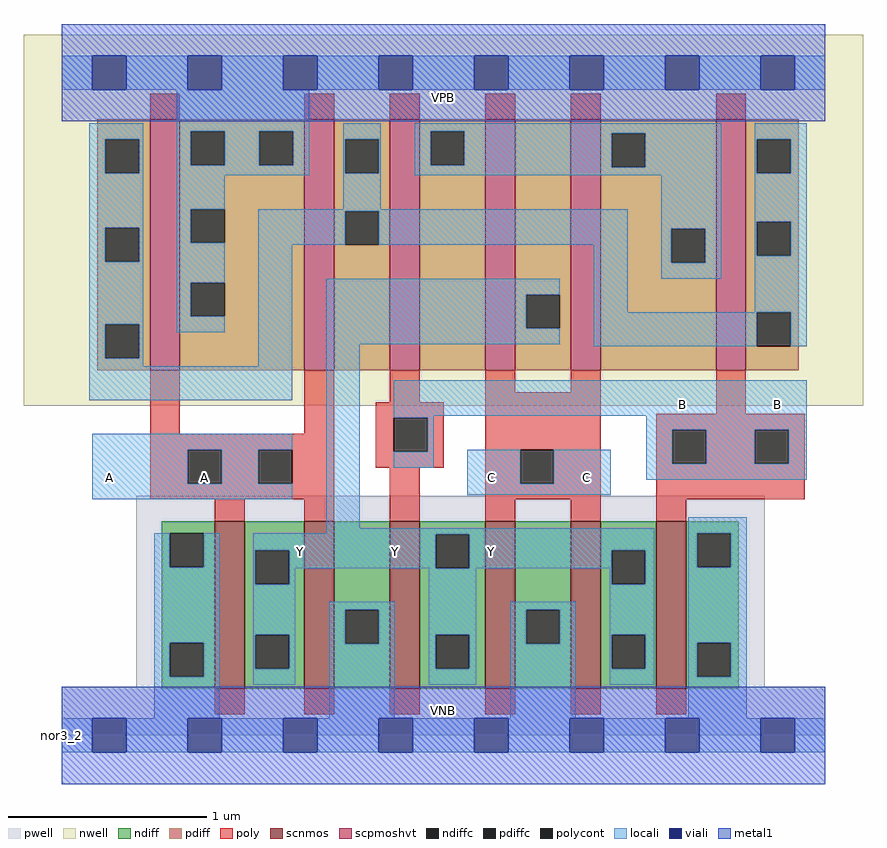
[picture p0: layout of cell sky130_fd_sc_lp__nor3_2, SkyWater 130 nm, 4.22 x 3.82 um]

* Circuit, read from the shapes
.subckt sky130_fd_sc_lp__nor3_2 A B C VGND VNB VPB VPWR Y
XM1 Y A VGND VNB sky130_fd_pr__nfet_01v8 w=0.84 l=0.15 m=2
XM2 Y B VGND VNB sky130_fd_pr__nfet_01v8 w=0.84 l=0.15 m=2
XM3 VGND C Y VNB sky130_fd_pr__nfet_01v8 w=0.84 l=0.15 m=2
XM4 VPWR A n1 VPB sky130_fd_pr__pfet_01v8_hvt w=1.26 l=0.15 m=2
XM5 n2 B n1 VPB sky130_fd_pr__pfet_01v8_hvt w=1.26 l=0.15 m=2
XM6 Y C n2 VPB sky130_fd_pr__pfet_01v8_hvt w=1.26 l=0.15 m=2
.ends

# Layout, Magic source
magic
tech sky130A
magscale 1 2
<< nwell >>
rect -38 331 806 704
<< pwell >>
rect 75 49 707 241
rect 0 0 768 49
<< scnmos >>
rect 154 47 184 215
rect 244 47 274 215
rect 330 47 360 215
rect 426 47 456 215
rect 512 47 542 215
rect 598 47 628 215
<< scpmoshvt >>
rect 89 367 119 619
rect 244 367 274 619
rect 330 367 360 619
rect 426 367 456 619
rect 512 367 542 619
rect 658 367 688 619
<< ndiff >>
rect 101 203 154 215
rect 101 169 109 203
rect 143 169 154 203
rect 101 93 154 169
rect 101 59 109 93
rect 143 59 154 93
rect 101 47 154 59
rect 184 186 244 215
rect 184 152 195 186
rect 229 152 244 186
rect 184 101 244 152
rect 184 67 195 101
rect 229 67 244 101
rect 184 47 244 67
rect 274 126 330 215
rect 274 92 285 126
rect 319 92 330 126
rect 274 47 330 92
rect 360 202 426 215
rect 360 168 376 202
rect 410 168 426 202
rect 360 101 426 168
rect 360 67 376 101
rect 410 67 426 101
rect 360 47 426 67
rect 456 126 512 215
rect 456 92 467 126
rect 501 92 512 126
rect 456 47 512 92
rect 542 186 598 215
rect 542 152 553 186
rect 587 152 598 186
rect 542 101 598 152
rect 542 67 553 101
rect 587 67 598 101
rect 542 47 598 67
rect 628 203 681 215
rect 628 169 639 203
rect 673 169 681 203
rect 628 93 681 169
rect 628 59 639 93
rect 673 59 681 93
rect 628 47 681 59
<< pdiff >>
rect 36 599 89 619
rect 36 565 44 599
rect 78 565 89 599
rect 36 510 89 565
rect 36 476 44 510
rect 78 476 89 510
rect 36 413 89 476
rect 36 379 44 413
rect 78 379 89 413
rect 36 367 89 379
rect 119 607 244 619
rect 119 573 130 607
rect 164 573 199 607
rect 233 573 244 607
rect 119 529 244 573
rect 119 495 130 529
rect 164 495 244 529
rect 119 455 244 495
rect 119 421 130 455
rect 164 421 244 455
rect 119 367 244 421
rect 274 599 330 619
rect 274 565 285 599
rect 319 565 330 599
rect 274 527 330 565
rect 274 493 285 527
rect 319 493 330 527
rect 274 367 330 493
rect 360 607 426 619
rect 360 573 371 607
rect 405 573 426 607
rect 360 367 426 573
rect 456 443 512 619
rect 456 409 467 443
rect 501 409 512 443
rect 456 367 512 409
rect 542 605 658 619
rect 542 571 553 605
rect 587 571 658 605
rect 542 509 658 571
rect 542 475 613 509
rect 647 475 658 509
rect 542 367 658 475
rect 688 599 741 619
rect 688 565 699 599
rect 733 565 741 599
rect 688 516 741 565
rect 688 482 699 516
rect 733 482 741 516
rect 688 425 741 482
rect 688 391 699 425
rect 733 391 741 425
rect 688 367 741 391
<< ndiffc >>
rect 109 169 143 203
rect 109 59 143 93
rect 195 152 229 186
rect 195 67 229 101
rect 285 92 319 126
rect 376 168 410 202
rect 376 67 410 101
rect 467 92 501 126
rect 553 152 587 186
rect 553 67 587 101
rect 639 169 673 203
rect 639 59 673 93
<< pdiffc >>
rect 44 565 78 599
rect 44 476 78 510
rect 44 379 78 413
rect 130 573 164 607
rect 199 573 233 607
rect 130 495 164 529
rect 130 421 164 455
rect 285 565 319 599
rect 285 493 319 527
rect 371 573 405 607
rect 467 409 501 443
rect 553 571 587 605
rect 613 475 647 509
rect 699 565 733 599
rect 699 482 733 516
rect 699 391 733 425
<< poly >>
rect 89 619 119 645
rect 244 619 274 645
rect 330 619 360 645
rect 426 619 456 645
rect 512 619 542 645
rect 658 619 688 645
rect 89 303 119 367
rect 244 303 274 367
rect 330 335 360 367
rect 426 345 456 367
rect 512 345 542 367
rect 89 287 274 303
rect 89 253 127 287
rect 161 253 198 287
rect 232 253 274 287
rect 316 319 384 335
rect 316 285 334 319
rect 368 285 384 319
rect 316 269 384 285
rect 426 287 542 345
rect 658 323 688 367
rect 89 237 274 253
rect 154 215 184 237
rect 244 215 274 237
rect 330 215 360 269
rect 426 253 461 287
rect 495 253 542 287
rect 426 237 542 253
rect 426 215 456 237
rect 512 215 542 237
rect 598 307 747 323
rect 598 273 614 307
rect 648 273 697 307
rect 731 273 747 307
rect 598 237 747 273
rect 598 215 628 237
rect 154 21 184 47
rect 244 21 274 47
rect 330 21 360 47
rect 426 21 456 47
rect 512 21 542 47
rect 598 21 628 47
<< polycont >>
rect 127 253 161 287
rect 198 253 232 287
rect 334 285 368 319
rect 461 253 495 287
rect 614 273 648 307
rect 697 273 731 307
<< locali >>
rect 0 649 31 683
rect 65 649 127 683
rect 161 649 223 683
rect 257 649 319 683
rect 353 649 415 683
rect 449 649 511 683
rect 545 649 607 683
rect 641 649 703 683
rect 737 649 768 683
rect 28 599 82 615
rect 28 565 44 599
rect 78 565 82 599
rect 28 510 82 565
rect 28 476 44 510
rect 78 476 82 510
rect 28 413 82 476
rect 28 379 44 413
rect 78 379 82 413
rect 116 607 249 649
rect 116 573 130 607
rect 164 573 199 607
rect 233 573 249 607
rect 116 563 249 573
rect 283 599 321 615
rect 283 565 285 599
rect 319 565 321 599
rect 116 529 164 563
rect 283 529 321 565
rect 355 607 663 615
rect 355 573 371 607
rect 405 605 663 607
rect 405 573 553 605
rect 355 571 553 573
rect 587 571 663 605
rect 355 563 663 571
rect 116 495 130 529
rect 116 455 164 495
rect 116 421 130 455
rect 116 405 164 421
rect 198 527 569 529
rect 198 493 285 527
rect 319 493 569 527
rect 28 371 82 379
rect 198 371 232 493
rect 28 337 232 371
rect 266 443 501 459
rect 266 409 467 443
rect 266 393 501 409
rect 535 425 569 493
rect 603 509 663 563
rect 603 475 613 509
rect 647 475 663 509
rect 603 459 663 475
rect 697 599 749 615
rect 697 565 699 599
rect 733 565 749 599
rect 697 516 749 565
rect 697 482 699 516
rect 733 482 749 516
rect 697 425 749 482
rect 31 287 232 303
rect 31 253 127 287
rect 161 253 198 287
rect 31 237 232 253
rect 266 208 300 393
rect 535 391 699 425
rect 733 391 749 425
rect 334 321 749 357
rect 334 319 374 321
rect 368 285 374 319
rect 588 307 749 321
rect 334 269 374 285
rect 408 253 461 287
rect 495 253 552 287
rect 588 273 614 307
rect 648 273 697 307
rect 731 273 749 307
rect 588 257 749 273
rect 408 242 552 253
rect 266 203 596 208
rect 93 169 109 203
rect 143 169 159 203
rect 93 93 159 169
rect 93 59 109 93
rect 143 59 159 93
rect 93 17 159 59
rect 193 202 596 203
rect 193 186 376 202
rect 193 152 195 186
rect 229 168 376 186
rect 410 186 596 202
rect 410 168 553 186
rect 229 152 235 168
rect 193 101 235 152
rect 193 67 195 101
rect 229 67 235 101
rect 193 51 235 67
rect 269 126 335 134
rect 269 92 285 126
rect 319 92 335 126
rect 269 17 335 92
rect 369 101 417 168
rect 551 152 553 168
rect 587 152 596 186
rect 369 67 376 101
rect 410 67 417 101
rect 369 51 417 67
rect 451 126 517 134
rect 451 92 467 126
rect 501 92 517 126
rect 451 17 517 92
rect 551 101 596 152
rect 551 67 553 101
rect 587 67 596 101
rect 551 51 596 67
rect 630 203 689 219
rect 630 169 639 203
rect 673 169 689 203
rect 630 93 689 169
rect 630 59 639 93
rect 673 59 689 93
rect 630 17 689 59
rect 0 -17 31 17
rect 65 -17 127 17
rect 161 -17 223 17
rect 257 -17 319 17
rect 353 -17 415 17
rect 449 -17 511 17
rect 545 -17 607 17
rect 641 -17 703 17
rect 737 -17 768 17
<< viali >>
rect 31 649 65 683
rect 127 649 161 683
rect 223 649 257 683
rect 319 649 353 683
rect 415 649 449 683
rect 511 649 545 683
rect 607 649 641 683
rect 703 649 737 683
rect 31 -17 65 17
rect 127 -17 161 17
rect 223 -17 257 17
rect 319 -17 353 17
rect 415 -17 449 17
rect 511 -17 545 17
rect 607 -17 641 17
rect 703 -17 737 17
<< metal1 >>
rect 0 683 768 715
rect 0 649 31 683
rect 65 649 127 683
rect 161 649 223 683
rect 257 649 319 683
rect 353 649 415 683
rect 449 649 511 683
rect 545 649 607 683
rect 641 649 703 683
rect 737 649 768 683
rect 0 617 768 649
rect 0 17 768 49
rect 0 -17 31 17
rect 65 -17 127 17
rect 161 -17 223 17
rect 257 -17 319 17
rect 353 -17 415 17
rect 449 -17 511 17
rect 545 -17 607 17
rect 641 -17 703 17
rect 737 -17 768 17
rect 0 -49 768 -17
<< labels >>
flabel pwell s 0 0 768 49 0 FreeSans 200 0 0 0 VNB
port 5 nsew ground bidirectional
flabel nwell s 0 617 768 666 0 FreeSans 200 0 0 0 VPB
port 6 nsew power bidirectional
rlabel comment s 0 0 0 0 4 nor3_2
flabel metal1 s 0 617 768 666 0 FreeSans 340 0 0 0 VPWR
port 7 nsew power bidirectional
flabel metal1 s 0 0 768 49 0 FreeSans 340 0 0 0 VGND
port 4 nsew ground bidirectional
flabel locali s 223 168 257 202 0 FreeSans 340 0 0 0 Y
port 8 nsew signal output
flabel locali s 319 168 353 202 0 FreeSans 340 0 0 0 Y
port 8 nsew signal output
flabel locali s 415 168 449 202 0 FreeSans 340 0 0 0 Y
port 8 nsew signal output
flabel locali s 607 316 641 350 0 FreeSans 340 0 0 0 B
port 2 nsew signal input
flabel locali s 127 242 161 276 0 FreeSans 340 0 0 0 A
port 1 nsew signal input
flabel locali s 703 316 737 350 0 FreeSans 340 0 0 0 B
port 2 nsew signal input
flabel locali s 415 242 449 276 0 FreeSans 340 0 0 0 C
port 3 nsew signal input
flabel locali s 511 242 545 276 0 FreeSans 340 0 0 0 C
port 3 nsew signal input
flabel locali s 31 242 65 276 0 FreeSans 340 0 0 0 A
port 1 nsew signal input
<< properties >>
string LEFsite unit
string LEFclass CORE
string FIXED_BBOX 0 0 768 666
string GDS_FILE $PDKPATH/libs.ref/sky130_fd_sc_lp/gds/sky130_fd_sc_lp.gds
string LEFsymmetry X Y R90
string GDS_END 2639272
string GDS_START 2632062
<< end >>
